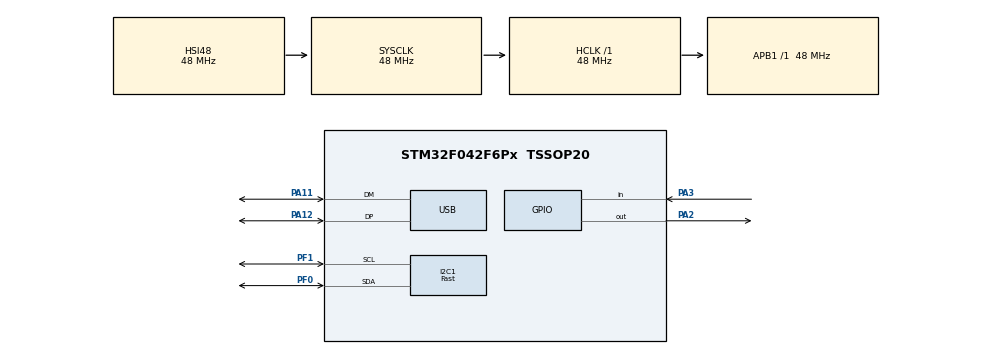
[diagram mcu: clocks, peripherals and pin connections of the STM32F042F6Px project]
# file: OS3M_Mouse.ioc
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I2C1.AddressingMode=I2C_ADDRESSINGMODE_7BIT
I2C1.Analog_Filter=I2C_ANALOGFILTER_ENABLE
I2C1.DualAddressMode=I2C_DUALADDRESS_DISABLE
I2C1.GeneralCallMode=I2C_GENERALCALL_DISABLE
I2C1.I2C_Coeff_DF=0
I2C1.I2C_Fall_Time=0
I2C1.I2C_Rise_Time=0
I2C1.I2C_Speed_Mode=I2C_Fast
I2C1.NoStretchMode=I2C_NOSTRETCH_DISABLE
I2C1.OwnAddress=0
I2C1.Speed=400
I2C1.Timing=0x2010091A
Mcu.Family=STM32F0
Mcu.Name=STM32F042F6Px
Mcu.Package=TSSOP20
NVIC.USB_IRQn=true\:0\:0\:false\:false\:true\:false\:true\:true
PA11.Mode=Device
PA11.Signal=USB_DM
PA12.Mode=Device
PA12.Signal=USB_DP
PA13.Mode=Serial_Wire
PA13.Signal=SYS_SWDIO
PA14.Mode=Serial_Wire
PA14.Signal=SYS_SWCLK
PA2.PinState=GPIO_PIN_SET
PA2.Signal=GPIO_Output
PA3.GPIO_PuPd=GPIO_PULLDOWN
PA3.Signal=GPIO_Input
PF0-OSC_IN.Mode=I2C
PF0-OSC_IN.Signal=I2C1_SDA
PF1-OSC_OUT.Mode=I2C
PF1-OSC_OUT.Signal=I2C1_SCL
ProjectManager.HeapSize=0x200
ProjectManager.StackSize=0x400
ProjectManager.TargetToolchain=Makefile
RCC.AHBFreq_Value=48000000
RCC.APB1Freq_Value=48000000
RCC.APB1TimFreq_Value=48000000
RCC.FLatency=FLASH_LATENCY_1
RCC.HCLKFreq_Value=48000000
RCC.I2c1ClockSelection=RCC_I2C1CLKSOURCE_SYSCLK
RCC.SYSCLKFreq_VALUE=48000000
RCC.SYSCLKSource=RCC_SYSCLKSOURCE_HSI48
USB_DEVICE.CLASS_NAME_FS=HID
USB_DEVICE.VirtualMode=Hid
USB_DEVICE.VirtualModeFS=Hid_FS
VP_SYS_VS_PINREMAP.Mode=PINREMAP
VP_USB_DEVICE_VS_USB_DEVICE_HID_FS.Mode=HID_FS
board=custom

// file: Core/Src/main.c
/* USER CODE BEGIN Header */
/*
Copyright(C) 2023 Colton Baldridge

This program is free software : you can redistribute it and /or modify
it under the terms of the GNU General Public License as published by
the Free Software Foundation, either version 3 of the License, or
(at your option) any later version.

This program is distributed in the hope that it will be useful,
but WITHOUT ANY WARRANTY; without even the implied warranty of
MERCHANTABILITY or FITNESS FOR A PARTICULAR PURPOSE.See the
GNU General Public License for more details.

You should have received a copy of the GNU General Public License
along with this program.If not, see < https://www.gnu.org/licenses/>.
*/
/* USER CODE END Header */
#include "main.h"
#include "usb_device.h"

/* USER CODE BEGIN Includes */
#include "STM_LDC16xx.h"

/* USER CODE END Includes */

/* USER CODE BEGIN PD */
#define BOOTLOADER_ADDRESS 0x1FFFC400 // address of the bootloader ROM
#define LDC_HONE_DEADBAND 20 // the magnitude of all channel readings should be less than this before LDC honing begins
#define LDC_HONE_PERIOD 100 // this many samples should pass within LDC_HONE_DEADBAND before LDC honing executes
#define X_SCALE_FACTOR 120 // Scaling factors to bring the values up to us the full range of int16_t so other programs play nice
#define Y_SCALE_FACTOR 120
#define Z_SCALE_FACTOR 35
#define RX_SCALE_FACTOR 30
#define RY_SCALE_FACTOR 30
#define RZ_SCALE_FACTOR 50
/* USER CODE END PD */

I2C_HandleTypeDef hi2c1;

/* USER CODE BEGIN PV */
typedef enum {
  HONED = 0,
  ACTIVE = 1,
} honing_state_t;
/* USER CODE END PV */

void SystemClock_Config(void);
static void MX_GPIO_Init(void);
static void MX_I2C1_Init(void);
/* USER CODE BEGIN PFP */
extern USBD_HandleTypeDef hUsbDeviceFS;

static inline void sendGamepadReport(int16_t x, int16_t y, int16_t z, int16_t rx, int16_t ry, int16_t rz)
{
  int16_t buffer[6] = {x, y, z, rx, ry, rz};
  USBD_HID_SendReport(&hUsbDeviceFS, buffer, sizeof(buffer));
}

int16_t boundToInt16(int32_t value) {
    if (value < INT16_MIN) {
        return INT16_MIN;
    } else if (value > INT16_MAX) {
        return INT16_MAX;
    } else {
        return (int16_t)value;
    }
}

void jumpToBootloader(void) {
  // Taken from https://community.st.com/t5/stm32-mcus/how-to-jump-to-system-bootloader-from-application-code-on-stm32/tac-p/596379/highlight/true#M617
  void (*SysMemBootJump)(void);
  uint8_t i;

  __disable_irq();
  // Reset USB
  USB->CNTR = 0x0003;

  //De-init all peripherals
  HAL_I2C_DeInit(&hi2c1);
  HAL_GPIO_DeInit(GPIOA, GPIO_PIN_2 | GPIO_PIN_3);

  // Disable Systick
  SysTick->CTRL = 0;
  SysTick->LOAD = 0;
  SysTick->VAL = 0;

  // Reset clock to default
  HAL_RCC_DeInit();

  // Clear all interrupt bits
  for (i = 0; i < sizeof(NVIC->ICER) / sizeof(NVIC->ICER[0]); i++)
  {
    NVIC->ICER[i] = 0xFFFFFFFF;
    NVIC->ICPR[i] = 0xFFFFFFFF;
  }

  __enable_irq();

  SysMemBootJump = (void (*)(void)) (*((uint32_t *) (BOOTLOADER_ADDRESS + 4)));
  __set_MSP(*(uint32_t *)BOOTLOADER_ADDRESS);
  SysMemBootJump();

  while (1); // Just in case...
}

/* USER CODE END PFP */

/* USER CODE BEGIN 0 */
 LDC_configReg default_config[] = {
  { LDC16xx_CLOCK_DIVIDERS_CH0,   0x5002 }, // get weird behavior with other dividers like 1002, just stick with this for now
  { LDC16xx_CLOCK_DIVIDERS_CH1,   0x5002 },
  { LDC16xx_CLOCK_DIVIDERS_CH2,   0x5002 },
  { LDC16xx_CLOCK_DIVIDERS_CH3,   0x5002 },
  { LDC16xx_SETTLECOUNT_CH0,      0x0040 },
  { LDC16xx_SETTLECOUNT_CH1,      0x0040 },
  { LDC16xx_SETTLECOUNT_CH2,      0x0040 },
  { LDC16xx_SETTLECOUNT_CH3,      0x0040 },
  { LDC16xx_RCOUNT_CH0,           0x1fff },
  { LDC16xx_RCOUNT_CH1,           0x1fff },
  { LDC16xx_RCOUNT_CH2,           0x1fff },
  { LDC16xx_RCOUNT_CH3,           0x1fff },
  { LDC16xx_DRIVE_CURRENT_CH0,    0xD000 },
  { LDC16xx_DRIVE_CURRENT_CH1,    0xD000 },
  { LDC16xx_DRIVE_CURRENT_CH2,    0xD000 },
  { LDC16xx_DRIVE_CURRENT_CH3,    0xD000 },
  { LDC16xx_ERROR_CONFIG,         0x0001 },
  { LDC16xx_MUX_CONFIG,           LDC16xx_BITS_DEGLITCH_3_3Mhz | LDC16xx_BITS_AUTOSCAN_EN | LDC16xx_BITS_RR_SEQUENCE_CH0_CH1_CH2_CH3 },
  { LDC16xx_CONFIG,               LDC16xx_BITS_ACTIVE_CHAN_CH0 // select channel 0
                                  | LDC16xx_BITS_AUTO_AMP_DIS // if 0, IDRIVE constantly adjusts
                                  | LDC16xx_BITS_RP_OVERRIDE_EN // if 0, IDRIVE auto calibrates on sensor startup
                                  | LDC16xx_BITS_INTB_DIS // disable intb pin
                                  | LDC16xx_BITS_REF_CLK_SRC // 40MHz ext clock
                                  // | LDC16xx_BITS_SLEEP_MODE_EN // start in sleep mode
                                  },
};

LDC_configReg SLEEP_CONFIG_config = { LDC16xx_CONFIG, LDC16xx_BITS_ACTIVE_CHAN_CH0 | LDC16xx_BITS_AUTO_AMP_DIS | LDC16xx_BITS_INTB_DIS | LDC16xx_BITS_SLEEP_MODE_EN};
LDC_configReg AWAKE_CONFIG_config = { LDC16xx_CONFIG, LDC16xx_BITS_ACTIVE_CHAN_CH0 | LDC16xx_BITS_AUTO_AMP_DIS | LDC16xx_BITS_INTB_DIS};

#define LDC_CONFIG_SIZE sizeof(default_config)/sizeof(LDC_configReg)
/* USER CODE END 0 */

int main(void)
{

  /* MCU Configuration--------------------------------------------------------*/

  /* Reset of all peripherals, Initializes the Flash interface and the Systick. */
  HAL_Init();

  /* Configure the system clock */
  SystemClock_Config();

  /* Initialize all configured peripherals */
  MX_GPIO_Init();
  MX_I2C1_Init();
  MX_USB_DEVICE_Init();
  /* USER CODE BEGIN 2 */
  uint8_t is_earlier_revision = 0;
  // Check if user has earlier revision of board where UART pins are shorted by default
  if (HAL_GPIO_ReadPin(GPIOA, GPIO_PIN_3) == GPIO_PIN_SET) {
    is_earlier_revision = 1;
  }
  // Reset the LDCs
  resetDevice(0x2a);
  resetDevice(0x2b);
  // Load the config onto the LDC1614
  loadConfig(0x2a, default_config, LDC_CONFIG_SIZE);
  // Change the mux register in the config to only scan 2 channels instead of 4 (for LDC1612)
  LDC_configReg LDC1612_MUX_config = {LDC16xx_MUX_CONFIG, LDC16xx_BITS_DEGLITCH_3_3Mhz | LDC16xx_BITS_AUTOSCAN_EN | LDC16xx_BITS_RR_SEQUENCE_CH0_CH1};
  default_config[16] = LDC1612_MUX_config;
  // Send the new config to the LDC1612
  loadConfig(0x2b, default_config, LDC_CONFIG_SIZE);

  // Channel data and cal data variables
  uint32_t ldc1_ch0 = 0;
  uint32_t ldc1_ch1 = 0;
  uint32_t ldc1_ch2 = 0;
  uint32_t ldc1_ch3 = 0;
  uint32_t ldc2_ch0 = 0;
  uint32_t ldc2_ch1 = 0;
  int32_t ldc1_ch0_dif = 0;
  int32_t ldc1_ch1_dif = 0;
  int32_t ldc1_ch2_dif = 0;
  int32_t ldc1_ch3_dif = 0;
  int32_t ldc2_ch0_dif = 0;
  int32_t ldc2_ch1_dif = 0;
  uint32_t ldc1_ch0_cal = 0;
  uint32_t ldc1_ch1_cal = 0;
  uint32_t ldc1_ch2_cal = 0;
  uint32_t ldc1_ch3_cal = 0;
  uint32_t ldc2_ch0_cal = 0;
  uint32_t ldc2_ch1_cal = 0;

  // Honing counter
  uint32_t ldc_honing_count = 0;
  honing_state_t ldc_honing_state = HONED;
  uint8_t in_deadband = 1;

  // Grab starting values
  readChannel(0x2a, 0, &ldc1_ch0_cal);
  readChannel(0x2a, 1, &ldc1_ch1_cal);
  readChannel(0x2a, 2, &ldc1_ch2_cal);
  readChannel(0x2a, 3, &ldc1_ch3_cal);

  readChannel(0x2b, 0, &ldc2_ch0_cal);
  readChannel(0x2b, 1, &ldc2_ch1_cal);

  /* USER CODE END 2 */

  /* Infinite loop */
  /* USER CODE BEGIN WHILE */

  while (1)
  {
    if (HAL_GPIO_ReadPin(GPIOA, GPIO_PIN_3) == GPIO_PIN_SET && !is_earlier_revision) {
      jumpToBootloader();
    }
    // Grab a new set of values
    readChannel(0x2a, 0, &ldc1_ch0);
    readChannel(0x2a, 1, &ldc1_ch1);
    readChannel(0x2a, 2, &ldc1_ch2);
    readChannel(0x2a, 3, &ldc1_ch3);

    readChannel(0x2b, 0, &ldc2_ch0);
    readChannel(0x2b, 1, &ldc2_ch1);

    // Compare to cal'd values
    ldc1_ch0_dif = ((int32_t)ldc1_ch0_cal - (int32_t)ldc1_ch0) / 125;
    ldc1_ch1_dif = ((int32_t)ldc1_ch1_cal - (int32_t)ldc1_ch1) / 125;
    ldc1_ch2_dif = ((int32_t)ldc1_ch2_cal - (int32_t)ldc1_ch2) / 125;
    ldc1_ch3_dif = ((int32_t)ldc1_ch3_cal - (int32_t)ldc1_ch3) / 125;
    ldc2_ch0_dif = ((int32_t)ldc2_ch0_cal - (int32_t)ldc2_ch0) / 125;
    ldc2_ch1_dif = ((int32_t)ldc2_ch1_cal - (int32_t)ldc2_ch1) / 125;

    // Perform honing (if necessary)
    switch (ldc_honing_state){
      case HONED:
        if(
          abs(ldc1_ch0_dif) > LDC_HONE_DEADBAND ||
          abs(ldc1_ch1_dif) > LDC_HONE_DEADBAND ||
          abs(ldc1_ch2_dif) > LDC_HONE_DEADBAND ||
          abs(ldc1_ch3_dif) > LDC_HONE_DEADBAND ||
          abs(ldc2_ch0_dif) > LDC_HONE_DEADBAND ||
          abs(ldc2_ch1_dif) > LDC_HONE_DEADBAND
        ){
          ldc_honing_state = ACTIVE;
        }
        break;
      case ACTIVE:
        if(
          abs(ldc1_ch0_dif) < LDC_HONE_DEADBAND &&
          abs(ldc1_ch1_dif) < LDC_HONE_DEADBAND &&
          abs(ldc1_ch2_dif) < LDC_HONE_DEADBAND &&
          abs(ldc1_ch3_dif) < LDC_HONE_DEADBAND &&
          abs(ldc2_ch0_dif) < LDC_HONE_DEADBAND &&
          abs(ldc2_ch1_dif) < LDC_HONE_DEADBAND
        ){
          ldc_honing_count++;
          in_deadband = 1;
        }else{
          ldc_honing_count = 0;
          in_deadband = 0;
        }
        if(ldc_honing_count > LDC_HONE_PERIOD){
          ldc1_ch0_cal = ldc1_ch0;
          ldc1_ch1_cal = ldc1_ch1;
          ldc1_ch2_cal = ldc1_ch2;
          ldc1_ch3_cal = ldc1_ch3;
          ldc2_ch0_cal = ldc2_ch0;
          ldc2_ch1_cal = ldc2_ch1;
          ldc_honing_count = 0;
          ldc_honing_state = HONED;
        }
      default:
        break;
    }

    // Get sums and differences
    int32_t cm1 = ldc1_ch0_dif+ldc1_ch1_dif;
    int32_t dm1 = ldc1_ch0_dif-ldc1_ch1_dif;
    int32_t cm2 = ldc1_ch2_dif+ldc1_ch3_dif;
    int32_t dm2 = ldc1_ch2_dif-ldc1_ch3_dif;
    int32_t cm3 = ldc2_ch0_dif+ldc2_ch1_dif;
    int32_t dm3 = ldc2_ch0_dif-ldc2_ch1_dif;

    // Compute tranformation
    int32_t z = cm1 + cm2 + cm3;
    int32_t y = - dm1 + dm3;
    int32_t x = - (dm2 - dm1 / 2 - dm3 / 2);
    int32_t rz = dm1 + dm2 + dm3;
    int32_t rx = cm1 / 2 - cm2 + cm3 / 2;
    int32_t ry =  - cm1 + cm3;

    if(in_deadband){
      z = 0;
      y = 0;
      x = 0;
      rz = 0;
      rx = 0;
      ry = 0;
    }

    x = X_SCALE_FACTOR * x;
    y = Y_SCALE_FACTOR * y;
    z = Z_SCALE_FACTOR * z;
    rx = RX_SCALE_FACTOR * rx;
    ry = RY_SCALE_FACTOR * ry;
    rz = RZ_SCALE_FACTOR * rz;
    // Delay a bit for the LDCs to get new readings
    // (in the future, add INTB pin support so the LDCs can alert the MCU when they have new data ready)
    HAL_Delay(20);

    // Send the data.
    sendGamepadReport(boundToInt16(x),boundToInt16(y),boundToInt16(z),boundToInt16(rx),boundToInt16(ry),boundToInt16(rz));

    // Debug send for if you want the raw coil data
    // sendGamepadReport(
    //   ldc1_ch0_dif,
    //   ldc1_ch1_dif,
    //   ldc1_ch2_dif,
    //   ldc1_ch3_dif,
    //   ldc2_ch0_dif,
    //   ldc2_ch1_dif
    // );

    /* USER CODE END WHILE */

  }
}

void SystemClock_Config(void)
{
  RCC_OscInitTypeDef RCC_OscInitStruct = {0};
  RCC_ClkInitTypeDef RCC_ClkInitStruct = {0};
  RCC_PeriphCLKInitTypeDef PeriphClkInit = {0};

  /** Initializes the RCC Oscillators according to the specified parameters
  * in the RCC_OscInitTypeDef structure.
  */
  RCC_OscInitStruct.OscillatorType = RCC_OSCILLATORTYPE_HSI48;
  RCC_OscInitStruct.HSI48State = RCC_HSI48_ON;
  RCC_OscInitStruct.PLL.PLLState = RCC_PLL_NONE;
  if (HAL_RCC_OscConfig(&RCC_OscInitStruct) != HAL_OK)
  {
    Error_Handler();
  }

  /** Initializes the CPU, AHB and APB buses clocks
  */
  RCC_ClkInitStruct.ClockType = RCC_CLOCKTYPE_HCLK|RCC_CLOCKTYPE_SYSCLK
                              |RCC_CLOCKTYPE_PCLK1;
  RCC_ClkInitStruct.SYSCLKSource = RCC_SYSCLKSOURCE_HSI48;
  RCC_ClkInitStruct.AHBCLKDivider = RCC_SYSCLK_DIV1;
  RCC_ClkInitStruct.APB1CLKDivider = RCC_HCLK_DIV1;

  if (HAL_RCC_ClockConfig(&RCC_ClkInitStruct, FLASH_LATENCY_1) != HAL_OK)
  {
    Error_Handler();
  }
  PeriphClkInit.PeriphClockSelection = RCC_PERIPHCLK_USB|RCC_PERIPHCLK_I2C1;
  PeriphClkInit.I2c1ClockSelection = RCC_I2C1CLKSOURCE_SYSCLK;
  PeriphClkInit.UsbClockSelection = RCC_USBCLKSOURCE_HSI48;

  if (HAL_RCCEx_PeriphCLKConfig(&PeriphClkInit) != HAL_OK)
  {
    Error_Handler();
  }
}

static void MX_I2C1_Init(void)
{

  hi2c1.Instance = I2C1;
  hi2c1.Init.Timing = 0x2010091A;
  hi2c1.Init.OwnAddress1 = 0;
  hi2c1.Init.AddressingMode = I2C_ADDRESSINGMODE_7BIT;
  hi2c1.Init.DualAddressMode = I2C_DUALADDRESS_DISABLE;
  hi2c1.Init.OwnAddress2 = 0;
  hi2c1.Init.OwnAddress2Masks = I2C_OA2_NOMASK;
  hi2c1.Init.GeneralCallMode = I2C_GENERALCALL_DISABLE;
  hi2c1.Init.NoStretchMode = I2C_NOSTRETCH_DISABLE;
  if (HAL_I2C_Init(&hi2c1) != HAL_OK)
  {
    Error_Handler();
  }

  /** Configure Analogue filter
  */
  if (HAL_I2CEx_ConfigAnalogFilter(&hi2c1, I2C_ANALOGFILTER_ENABLE) != HAL_OK)
  {
    Error_Handler();
  }

  /** Configure Digital filter
  */
  if (HAL_I2CEx_ConfigDigitalFilter(&hi2c1, 0) != HAL_OK)
  {
    Error_Handler();
  }

}

static void MX_GPIO_Init(void)
{
  GPIO_InitTypeDef GPIO_InitStruct = {0};

  /* GPIO Ports Clock Enable */
  __HAL_RCC_GPIOF_CLK_ENABLE();
  __HAL_RCC_GPIOA_CLK_ENABLE();

  /*Configure GPIO pin Output Level */
  HAL_GPIO_WritePin(GPIOA, GPIO_PIN_2, GPIO_PIN_SET);

  /*Configure GPIO pin : PA2 */
  GPIO_InitStruct.Pin = GPIO_PIN_2;
  GPIO_InitStruct.Mode = GPIO_MODE_OUTPUT_PP;
  GPIO_InitStruct.Pull = GPIO_NOPULL;
  GPIO_InitStruct.Speed = GPIO_SPEED_FREQ_LOW;
  HAL_GPIO_Init(GPIOA, &GPIO_InitStruct);

  /*Configure GPIO pin : PA3 */
  GPIO_InitStruct.Pin = GPIO_PIN_3;
  GPIO_InitStruct.Mode = GPIO_MODE_INPUT;
  GPIO_InitStruct.Pull = GPIO_PULLDOWN;
  HAL_GPIO_Init(GPIOA, &GPIO_InitStruct);

}

void Error_Handler(void)
{
  __disable_irq();
  while (1)
  {
  }
}
